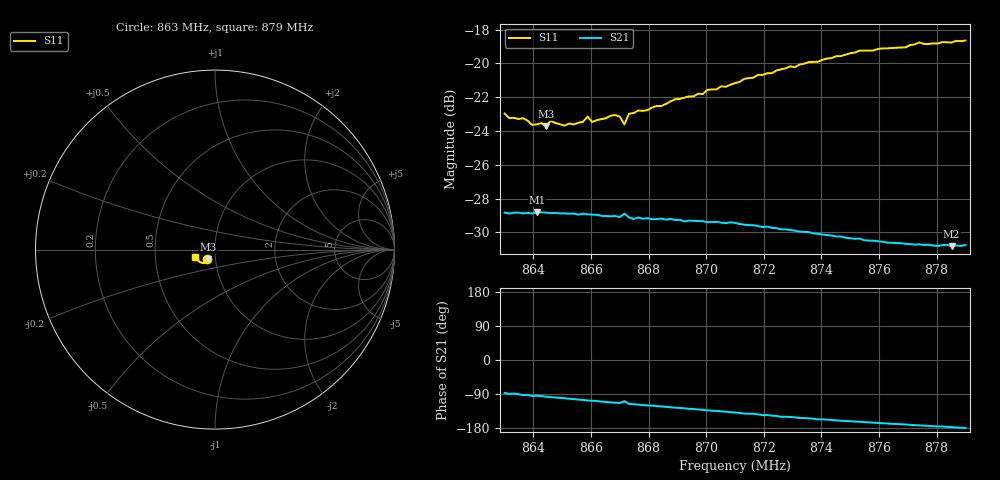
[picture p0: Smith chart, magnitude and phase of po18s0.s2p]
# HZ S RI R 50
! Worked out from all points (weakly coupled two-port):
!   101 points, 863 MHz to 879 MHz, reference 50 ohm
!   highest |S21| = -28.81 dB at 864.12 MHz (marker M1); lowest = -30.8 dB at 878.52 MHz (marker M2)
!   lowest |S11| = -23.7 dB at 864.44 MHz (marker M3), VSWR 1.14, Z = 46.2 - j4.97 ohm
!   |S11| at or under -10 dB: start of sweep to end of sweep
!   S12 and S22 are empty: the file has one direction only
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8.63e8  -0.0459 -0.0542  0.00212 -0.0361  0 0  0 0
8.6316e8  -0.0428 -0.054  0.00018 -0.036  0 0  0 0
8.6364e8  -0.0417 -0.0548  -0.00183 -0.036  0 0  0 0
8.6412e8  -0.038 -0.0541  -0.00264 -0.0362  0 0  0 0
8.6444e8  -0.0371 -0.0536  -0.00426 -0.0359  0 0  0 0
8.646e8  -0.0389 -0.0554  -0.00501 -0.0357  0 0  0 0
8.6508e8  -0.0352 -0.0551  -0.00684 -0.0353  0 0  0 0
8.6572e8  -0.0347 -0.0575  -0.00954 -0.0346  0 0  0 0
8.6588e8  -0.0383 -0.0581  -0.0104 -0.0342  0 0  0 0
8.6604e8  -0.0348 -0.0574  -0.0107 -0.0341  0 0  0 0
8.6684e8  -0.0344 -0.0614  -0.0137 -0.0326  0 0  0 0
8.67e8  -0.0351 -0.0601  -0.0141 -0.0322  0 0  0 0
8.6716e8  -0.0262 -0.0606  -0.0114 -0.0341  0 0  0 0
8.6732e8  -0.0352 -0.0617  -0.0154 -0.0314  0 0  0 0
8.6844e8  -0.0361 -0.0655  -0.0188 -0.0292  0 0  0 0
8.71e8  -0.0472 -0.0736  -0.0253 -0.0223  0 0  0 0
8.7372e8  -0.0676 -0.0752  -0.0284 -0.0133  0 0  0 0
8.7532e8  -0.0845 -0.0691  -0.029 -0.00891  0 0  0 0
8.7644e8  -0.0927 -0.0613  -0.0289 -0.00587  0 0  0 0
8.774e8  -0.1019 -0.0543  -0.0289 -0.00372  0 0  0 0
8.7852e8  -0.1066 -0.0441  -0.0288 -0.00141  0 0  0 0
8.79e8  -0.1103 -0.0391  -0.029 -0.000338  0 0  0 0
